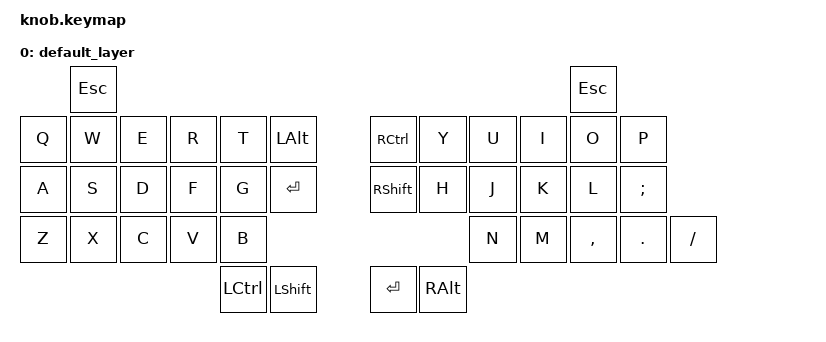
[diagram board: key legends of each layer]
#include <behaviors.dtsi>
#include <dt-bindings/zmk/keys.h>
#include <dt-bindings/zmk/bt.h>

/ {
        keymap {
                compatible = "zmk,keymap";

                default_layer {

                        bindings = <
		 &kp ESC										                       &kp ESC
   &kp Q &kp W &kp E &kp R &kp T  &kp LALT	     &kp RCTRL	&kp Y &kp U  &kp I &kp O &kp P   
   &kp A &kp S &kp D &kp F &kp G  &kp ENTER	     &kp RSHIFT &kp H &kp J  &kp K &kp L &kp SEMI 
   &kp Z &kp X &kp C &kp V &kp B   						    &kp N &kp M  &kp COMMA &kp DOT &kp FSLH 
						   &kp LCTRL &kp LSHFT   &kp ENTER &kp RALT
      
                        >;
                };
        };
};
